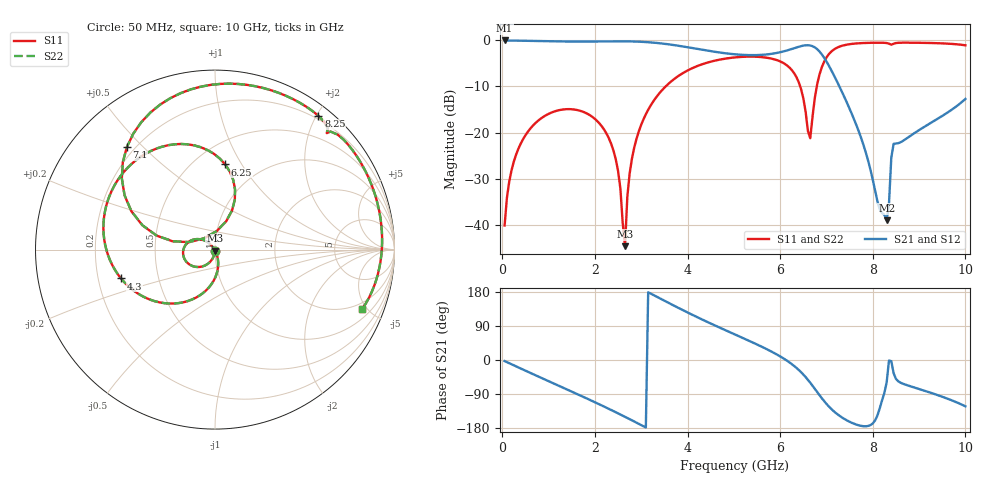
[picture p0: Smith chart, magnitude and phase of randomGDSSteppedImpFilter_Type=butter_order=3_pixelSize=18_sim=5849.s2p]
! freq	dB(S11)	phase(S11)	dB(S12)	phase(S12)
!  dB(S21)	phase(S21)	dB(S22)	phase(S22)
!S-par simulation data
#  GHz  S  DB  R 50
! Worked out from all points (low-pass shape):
!   200 points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, 50 MHz to 10 GHz, reference 50 ohm
!   highest |S21| = 0.00 dB at 50 MHz (marker M1); lowest = -39.0 dB at 8.3 GHz (marker M2)
!   |S21| within 3 dB of the highest: start of sweep to 5.017 GHz; 5.742 GHz to 6.898 GHz (1.156 GHz wide, 18.3 % of centre)
!   lowest |S11| = -44.7 dB at 2.65 GHz (marker M3), VSWR 1.01, Z = 49.9 - j0.563 ohm
!   |S11| at or under -10 dB: start of sweep to 3.527 GHz; 6.433 GHz to 6.791 GHz (358.6 MHz wide, 5.42 % of centre)
!   |S22| runs from -44.6 to -0.5 dB; largest |S21 - S12| = 0
!   S11 on the Smith chart (normalised r, x): 50 MHz: 1.00, -0.02; 4.3 GHz: 0.30, -0.14; 6.25 GHz: 0.69, +0.85; 7.1 GHz: 0.17, +0.45; 8.25 GHz: 0.15, +2.03; 10 GHz: 1.53, -4.67
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0.05  -40.19 -92.7  -0.00 -2.8  -0.00 -2.8  -40.19 -92.6
0.2  -28.18 -101.5  -0.02 -11.3  -0.02 -11.3  -28.18 -101.4
0.55  -19.86 -121.3  -0.09 -31.0  -0.09 -31.0  -19.86 -121.3
1.75  -15.52 172.2  -0.24 -97.3  -0.24 -97.3  -15.52 172.2
2.4  -23.90 136.0  -0.18 -134.8  -0.18 -134.8  -23.90 136.1
2.55  -32.18 130.2  -0.18 -143.8  -0.18 -143.8  -32.18 130.5
2.65  -44.68 -104.4  -0.19 -149.9  -0.19 -149.9  -44.59 -104.9
2.7  -33.94 -70.7  -0.19 -153.0  -0.19 -153.0  -33.93 -71.1
2.85  -23.23 -75.2  -0.23 -162.3  -0.23 -162.3  -23.23 -75.4
3.4  -11.38 -108.6  -0.61 162.8  -0.61 162.8  -11.38 -108.6
4.3  -5.23 -162.9  -1.99 107.7  -1.99 107.7  -5.23 -162.9
5.05  -3.66 155.8  -3.03 65.9  -3.03 65.9  -3.66 155.8
6.25  -6.41 83.2  -1.86 -10.7  -1.86 -10.7  -6.41 83.2
6.65  -21.23 133.5  -1.10 -60.0  -1.10 -60.0  -21.18 133.4
6.7  -16.50 163.9  -1.25 -68.0  -1.25 -68.0  -16.48 163.7
7.1  -2.46 130.7  -6.37 -128.7  -6.37 -128.7  -2.46 130.6
7.55  -0.74 91.5  -16.02 -165.9  -16.02 -165.9  -0.74 91.5
8.25  -0.52 52.3  -37.89 -86.9  -37.89 -86.9  -0.52 52.3
8.3  -0.57 49.7  -39.04 -59.0  -39.04 -59.0  -0.57 49.7
8.35  -0.70 47.1  -35.45 -1.3  -35.45 -1.3  -0.70 47.1
8.45  -0.72 45.6  -22.46 -34.9  -22.46 -34.9  -0.72 45.6
10  -1.06 -22.0  -12.71 -122.3  -12.71 -122.3  -1.06 -22.0
